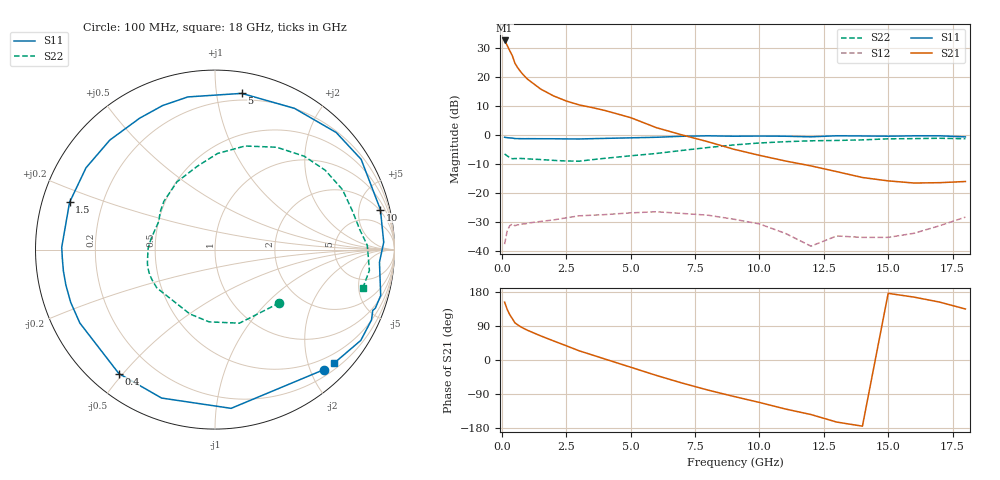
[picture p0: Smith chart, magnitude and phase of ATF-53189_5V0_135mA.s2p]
!ATF-53189
!s-parameters at Vds=5.0V, Id=135mA. Last updated 10/12/04 AR.
# GHZ S MA R 50
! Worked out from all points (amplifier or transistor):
!   30 points, 100 MHz to 18 GHz, reference 50 ohm
!   highest |S21| = 32.5 dB at 100 MHz (marker M1)
!   |S21| within 3 dB of that: start of sweep to 270.3 MHz
!   unconditionally stable (mu >= 1): 2.348 GHz to end of sweep
!   at 600 MHz: K = 0.34, MSG = 27.1 dB, |S12| = -31.1 dB
!   at 4 GHz: K = 1.19, MAG = 15.3 dB, |S12| = -27.5 dB
!   at 18 GHz: K = 3.70, MAG = -2.5 dB, |S12| = -28.4 dB
!   lowest NFmin = 0.36 dB at 500 MHz
!   S11 on the Smith chart (normalised r, x): 100 MHz: 0.31, -2.22; 400 MHz: 0.08, -0.49; 1.5 GHz: 0.08, +0.16; 5 GHz: 0.15, +1.17; 10 GHz: 1.81, +7.98; 18 GHz: 0.31, -2.47
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0.1  0.903 -47.8  42.05 152.7  0.013 66.6  0.466 -39.6
0.2  0.889 -84.2  34.52 133.5  0.022 49.3  0.432 -71.6
0.3  0.879 -109.8  27.96 119.5  0.027 37.6  0.404 -94.7
0.4  0.874 -127.8  22.97 109.2  0.029 29.8  0.385 -111.3
0.5  0.857 -151.5  17.06 98.2  0.027 21.2  0.388 -146.6
0.6  0.856 -160.0  14.45 93.1  0.028 18.5  0.389 -153.7
0.7  0.854 -166.6  12.54 88.7  0.028 16.7  0.39 -158.9
0.8  0.853 -172.0  11.08 84.9  0.029 15.4  0.388 -163.2
1  0.854 179.1  8.984 78.1  0.03 13.6  0.383 -169.5
1.5  0.852 162.0  6.117 63.7  0.032 11.0  0.373 179.1
2  0.851 147.6  4.662 50.4  0.034 8.7  0.361 170.2
2.5  0.846 133.8  3.798 37.4  0.037 5.3  0.352 161.7
3  0.844 119.8  3.257 24.2  0.04 0.6  0.35 153.9
3.5  0.854 110.0  2.934 13.4  0.041 -4.1  0.371 145.2
5  0.883 80.3  1.965 -19.1  0.045 -18.3  0.433 119.2
6  0.903 60.6  1.319 -40.8  0.047 -27.7  0.475 101.9
7  0.939 44.0  0.989 -60.9  0.044 -37.9  0.536 88.4
10  0.948 13.6  0.441 -112.0  0.029 -79.3  0.72 46.2
12  0.919 -4.4  0.29 -143.9  0.012 -172.8  0.785 25.2
13  0.958 -15.5  0.231 -163.8  0.018 105.3  0.796 15.4
16  0.956 -24.2  0.147 166.0  0.02 81.8  0.855 -2.7
18  0.917 -43.6  0.156 134.6  0.038 77.6  0.851 -14.6
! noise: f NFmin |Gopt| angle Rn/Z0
0.5  0.36  0.266  149.9  0.05
0.9  0.46  0.315  162.4  0.04
1.5  0.59  0.388  -172.7  0.04
2  0.69  0.448  -153  0.04
3  0.88  0.563  -116.3  0.12
3.5  0.98  0.617  -104.9  0.21
5.8  1.44  0.83  -56.5  0.37
6  1.48  0.845  -53.4  0.38
8  1.88  0.96  -28.3  0.84
10  2.28  0.994  -8.5  1.78
